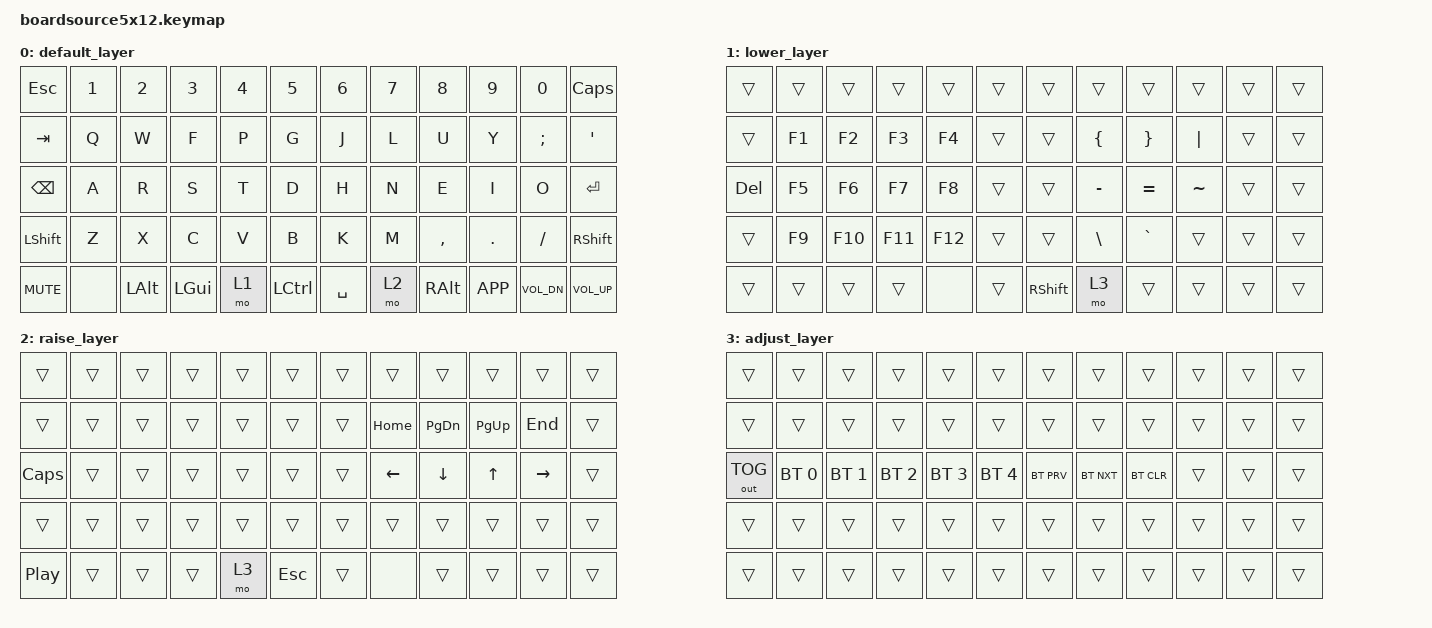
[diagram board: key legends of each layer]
/*
 * Copyright (c) 2021 The ZMK Contributors
 *
 * SPDX-License-Identifier: MIT
 */

#include <behaviors.dtsi>
#include <dt-bindings/zmk/keys.h>
#include <dt-bindings/zmk/bt.h>
#include <dt-bindings/zmk/outputs.h>


/ {
    keymap {
        compatible = "zmk,keymap";

        default_layer {
            bindings = <
                &kp ESC    &kp N1    &kp N2      &kp N3   &kp N4   &kp N5      &kp N6      &kp N7  &kp N8      &kp N9      &kp N0       &kp CAPS
                &kp TAB    &kp Q     &kp W       &kp F    &kp P    &kp G       &kp J       &kp L   &kp U       &kp Y       &kp SEMI     &kp APOS
                &kp BSPC   &kp A     &kp R       &kp S    &kp T    &kp D       &kp H       &kp N   &kp E       &kp I       &kp O        &kp RET
                &kp LSHFT  &kp Z     &kp X       &kp C    &kp V    &kp B       &kp K       &kp M   &kp COMMA   &kp DOT     &kp FSLH     &kp RSHFT
                &kp C_MUTE &none     &kp LALT    &kp LGUI &mo 1    &kp LCTRL   &kp SPACE   &mo 2   &kp RALT    &kp K_APP   &kp C_VOL_DN &kp C_VOL_UP
            >;
        };

        lower_layer {
            bindings = <
                &trans   &trans   &trans   &trans   &trans    &trans   &trans     &trans      &trans      &trans     &trans     &trans
                &trans   &kp F1   &kp F2   &kp F3   &kp F4    &trans   &trans     &kp LBRC    &kp RBRC    &kp PIPE   &trans     &trans
                &kp DEL  &kp F5   &kp F6   &kp F7   &kp F8    &trans   &trans     &kp MINUS   &kp EQUAL   &kp TILDE  &trans     &trans
                &trans   &kp F9   &kp F10  &kp F11  &kp F12   &trans   &trans     &kp BSLH    &kp GRAVE   &trans     &trans     &trans
                &trans   &trans   &trans   &trans   &none     &trans   &kp RSHFT  &mo 3       &trans      &trans     &trans     &trans
            >;
        };
        raise_layer {
            bindings = <
                &trans       &trans   &trans   &trans   &trans    &trans   &trans     &trans    &trans      &trans     &trans     &trans
                &trans       &trans   &trans   &trans   &trans    &trans   &trans     &kp HOME  &kp PG_DN   &kp PG_UP  &kp END    &trans
                &kp CAPS     &trans   &trans   &trans   &trans    &trans   &trans     &kp LEFT  &kp DOWN    &kp UP     &kp RIGHT  &trans
                &trans       &trans   &trans   &trans   &trans    &trans   &trans     &trans    &trans      &trans     &trans     &trans
                &kp C_PP     &trans   &trans   &trans   &mo 3     &kp ESC  &trans     &none     &trans      &trans     &trans     &trans
            >;
        };
        adjust_layer {
            bindings = <
                &trans       &trans       &trans       &trans       &trans       &trans       &trans     &trans     &trans     &trans  &trans  &trans
                &trans       &trans       &trans       &trans       &trans       &trans       &trans     &trans     &trans     &trans  &trans  &trans
                &out OUT_TOG &bt BT_SEL 0 &bt BT_SEL 1 &bt BT_SEL 2 &bt BT_SEL 3 &bt BT_SEL 4 &bt BT_PRV &bt BT_NXT &bt BT_CLR &trans  &trans  &trans
                &trans       &trans       &trans       &trans       &trans       &trans       &trans     &trans     &trans     &trans  &trans  &trans
                &trans       &trans       &trans       &trans       &trans       &trans       &trans     &trans     &trans     &trans  &trans  &trans
            >;
        };
    };
};
